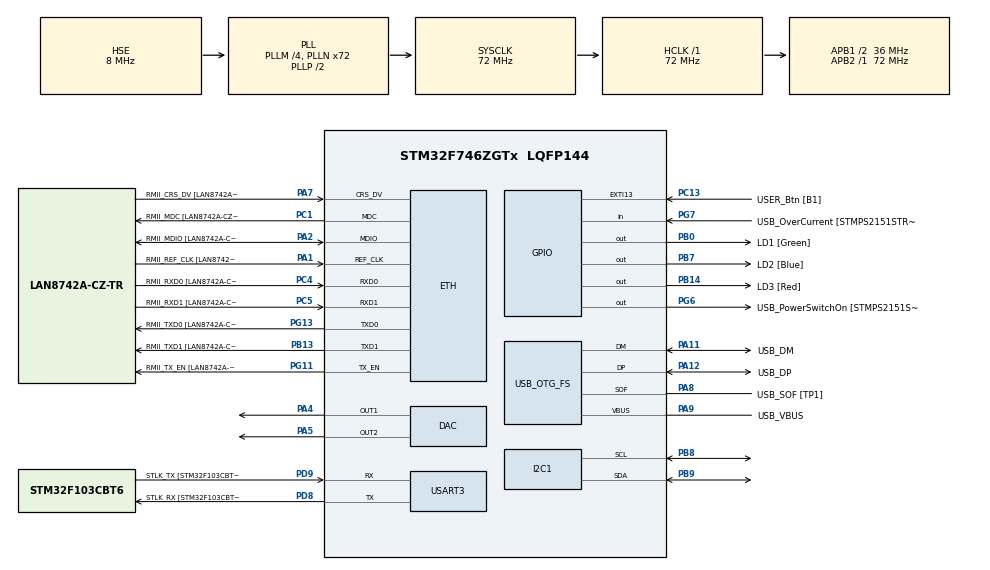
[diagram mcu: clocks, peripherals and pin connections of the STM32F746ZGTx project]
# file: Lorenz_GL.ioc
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DAC.DAC_Trigger=DAC_TRIGGER_T2_TRGO
DAC.DAC_Trigger2=DAC_TRIGGER_T2_TRGO
Dma.DAC1.0.Direction=DMA_MEMORY_TO_PERIPH
Dma.DAC1.0.FIFOMode=DMA_FIFOMODE_DISABLE
Dma.DAC1.0.Instance=DMA1_Stream5
Dma.DAC1.0.MemDataAlignment=DMA_MDATAALIGN_WORD
Dma.DAC1.0.MemInc=DMA_MINC_ENABLE
Dma.DAC1.0.Mode=DMA_CIRCULAR
Dma.DAC1.0.PeriphDataAlignment=DMA_PDATAALIGN_WORD
Dma.DAC1.0.PeriphInc=DMA_PINC_DISABLE
Dma.DAC1.0.Priority=DMA_PRIORITY_LOW
Dma.DAC2.1.Direction=DMA_MEMORY_TO_PERIPH
Dma.DAC2.1.FIFOMode=DMA_FIFOMODE_DISABLE
Dma.DAC2.1.Instance=DMA1_Stream6
Dma.DAC2.1.MemDataAlignment=DMA_MDATAALIGN_WORD
Dma.DAC2.1.MemInc=DMA_MINC_ENABLE
Dma.DAC2.1.Mode=DMA_CIRCULAR
Dma.DAC2.1.PeriphDataAlignment=DMA_PDATAALIGN_WORD
Dma.DAC2.1.PeriphInc=DMA_PINC_DISABLE
Dma.DAC2.1.Priority=DMA_PRIORITY_LOW
Dma.Request0=DAC1
Dma.Request1=DAC2
Dma.Request2=USART3_RX
Dma.Request3=USART3_TX
Dma.USART3_RX.2.Direction=DMA_PERIPH_TO_MEMORY
Dma.USART3_RX.2.FIFOMode=DMA_FIFOMODE_DISABLE
Dma.USART3_RX.2.Instance=DMA1_Stream1
Dma.USART3_RX.2.MemDataAlignment=DMA_MDATAALIGN_BYTE
Dma.USART3_RX.2.MemInc=DMA_MINC_ENABLE
Dma.USART3_RX.2.Mode=DMA_NORMAL
Dma.USART3_RX.2.PeriphDataAlignment=DMA_PDATAALIGN_BYTE
Dma.USART3_RX.2.PeriphInc=DMA_PINC_DISABLE
Dma.USART3_RX.2.Priority=DMA_PRIORITY_LOW
Dma.USART3_TX.3.Direction=DMA_MEMORY_TO_PERIPH
Dma.USART3_TX.3.FIFOMode=DMA_FIFOMODE_DISABLE
Dma.USART3_TX.3.Instance=DMA1_Stream3
Dma.USART3_TX.3.MemDataAlignment=DMA_MDATAALIGN_BYTE
Dma.USART3_TX.3.MemInc=DMA_MINC_ENABLE
Dma.USART3_TX.3.Mode=DMA_NORMAL
Dma.USART3_TX.3.PeriphDataAlignment=DMA_PDATAALIGN_BYTE
Dma.USART3_TX.3.PeriphInc=DMA_PINC_DISABLE
Dma.USART3_TX.3.Priority=DMA_PRIORITY_LOW
ETH.MediaInterface=HAL_ETH_RMII_MODE
ETH.PHY_Name=LAN8742A_PHY_ADDRESS
ETH.PHY_Value=0
ETH.PhyAddress=0
I2C1.Timing=0x00808CD2
Mcu.Family=STM32F7
Mcu.Name=STM32F746ZGTx
Mcu.Package=LQFP144
NVIC.DMA1_Stream1_IRQn=true\:0\:0\:false\:false\:true\:false\:true\:true
NVIC.DMA1_Stream3_IRQn=true\:0\:0\:false\:false\:true\:false\:true\:true
NVIC.DMA1_Stream5_IRQn=true\:0\:0\:false\:false\:true\:false\:true\:true
NVIC.DMA1_Stream6_IRQn=true\:0\:0\:false\:false\:true\:false\:true\:true
NVIC.PriorityGroup=NVIC_PRIORITYGROUP_4
NVIC.USART3_IRQn=true\:0\:0\:false\:false\:true\:true\:true\:true
PA1.GPIO_Label=RMII_REF_CLK [LAN8742A-CZ-TR_REFCLK0]
PA1.Mode=RMII
PA1.Signal=ETH_REF_CLK
PA10.GPIO_Label=USB_ID
PA10.Signal=USB_OTG_FS_ID
PA11.GPIO_Label=USB_DM
PA11.Mode=Device_Only
PA11.Signal=USB_OTG_FS_DM
PA12.GPIO_Label=USB_DP
PA12.Mode=Device_Only
PA12.Signal=USB_OTG_FS_DP
PA13.GPIO_Label=TMS
PA13.Mode=Serial_Wire
PA13.Signal=SYS_JTMS-SWDIO
PA14.GPIO_Label=TCK
PA14.Mode=Serial_Wire
PA14.Signal=SYS_JTCK-SWCLK
PA2.GPIO_Label=RMII_MDIO [LAN8742A-CZ-TR_MDIO]
PA2.Mode=RMII
PA2.Signal=ETH_MDIO
PA4.Signal=COMP_DAC1_group
PA5.Signal=COMP_DAC2_group
PA7.GPIO_Label=RMII_CRS_DV [LAN8742A-CZ-TR_CRS_DV]
PA7.Mode=RMII
PA7.Signal=ETH_CRS_DV
PA8.GPIO_Label=USB_SOF [TP1]
PA8.Mode=Activate_SOF_FS
PA8.Signal=USB_OTG_FS_SOF
PA9.GPIO_Label=USB_VBUS
PA9.Mode=Activate_VBUS
PA9.Signal=USB_OTG_FS_VBUS
PB0.GPIO_Label=LD1 [Green]
PB0.Signal=GPIO_Output
PB13.GPIO_Label=RMII_TXD1 [LAN8742A-CZ-TR_TXD1]
PB13.Mode=RMII
PB13.Signal=ETH_TXD1
PB14.GPIO_Label=LD3 [Red]
PB14.Signal=GPIO_Output
PB3.GPIO_Label=SW0
PB3.Signal=SYS_JTDO-SWO
PB7.GPIO_Label=LD2 [Blue]
PB7.Signal=GPIO_Output
PB8.Mode=I2C
PB8.Signal=I2C1_SCL
PB9.Mode=I2C
PB9.Signal=I2C1_SDA
PC1.GPIO_Label=RMII_MDC [LAN8742A-CZ-TR_MDC]
PC1.Mode=RMII
PC1.Signal=ETH_MDC
PC13.GPIO_Label=USER_Btn [B1]
PC13.Signal=GPXTI13
PC14/OSC32_IN.Mode=LSE-External-Oscillator
PC14/OSC32_IN.Signal=RCC_OSC32_IN
PC15/OSC32_OUT.Mode=LSE-External-Oscillator
PC15/OSC32_OUT.Signal=RCC_OSC32_OUT
PC4.GPIO_Label=RMII_RXD0 [LAN8742A-CZ-TR_RXD0]
PC4.Mode=RMII
PC4.Signal=ETH_RXD0
PC5.GPIO_Label=RMII_RXD1 [LAN8742A-CZ-TR_RXD1]
PC5.Mode=RMII
PC5.Signal=ETH_RXD1
PD8.GPIO_Label=STLK_RX [STM32F103CBT6_PA3]
PD8.GPIO_PuPd=GPIO_PULLUP
PD8.Mode=Asynchronous
PD8.Signal=USART3_TX
PD9.GPIO_Label=STLK_TX [STM32F103CBT6_PA2]
PD9.GPIO_PuPd=GPIO_PULLUP
PD9.Mode=Asynchronous
PD9.Signal=USART3_RX
PG11.GPIO_Label=RMII_TX_EN [LAN8742A-CZ-TR_TXEN]
PG11.Mode=RMII
PG11.Signal=ETH_TX_EN
PG13.GPIO_Label=RMII_TXD0 [LAN8742A-CZ-TR_TXD0]
PG13.Mode=RMII
PG13.Signal=ETH_TXD0
PG6.GPIO_Label=USB_PowerSwitchOn [STMPS2151STR_EN]
PG6.Signal=GPIO_Output
PG7.GPIO_Label=USB_OverCurrent [STMPS2151STR_FAULT]
PG7.Signal=GPIO_Input
PH0/OSC_IN.GPIO_Label=MCO [STM32F103CBT6_PA8]
PH0/OSC_IN.Mode=HSE-External-Clock-Source
PH0/OSC_IN.Signal=RCC_OSC_IN
PH1/OSC_OUT.Mode=HSE-External-Clock-Source
PH1/OSC_OUT.Signal=RCC_OSC_OUT
ProjectManager.HeapSize=0x200
ProjectManager.StackSize=0x400
ProjectManager.TargetToolchain=STM32CubeIDE
RCC.48MHZClocksFreq_Value=24000000
RCC.AHBFreq_Value=72000000
RCC.APB1CLKDivider=RCC_HCLK_DIV2
RCC.APB1Freq_Value=36000000
RCC.APB1TimFreq_Value=72000000
RCC.APB2Freq_Value=72000000
RCC.APB2TimFreq_Value=72000000
RCC.CortexFreq_Value=72000000
RCC.HCLKFreq_Value=72000000
RCC.HSE_VALUE=8000000
RCC.HSI_VALUE=16000000
RCC.PLLM=4
RCC.PLLMUL=RCC_PLL_MUL9
RCC.PLLN=72
RCC.PLLQ=3
RCC.PRESCALERUSB=RCC_USBCLKSOURCE_PLL_DIV1_5
RCC.SYSCLKFreq_VALUE=72000000
RCC.SYSCLKSource=RCC_SYSCLKSOURCE_PLLCLK
RCC.SYSCLKSourceVirtual=RCC_SYSCLKSOURCE_PLLCLK
RCC.USBFreq_Value=48000000
RCC.VCOOutputFreq_Value=144000000
SH.COMP_DAC1_group.0=DAC_OUT1,DAC_OUT1
SH.COMP_DAC2_group.0=DAC_OUT2,DAC_OUT2
TIM2.Period=100
TIM2.Prescaler=72-1
TIM2.TIM_MasterOutputTrigger=TIM_TRGO_UPDATE
USART3.VirtualMode-Asynchronous=VM_ASYNC
USB_OTG_FS.VirtualMode=Device_Only
VP_TIM2_VS_ClockSourceINT.Mode=Internal
board=NUCLEO-F746ZG

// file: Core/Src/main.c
/* USER CODE BEGIN Header */
/**
  ******************************************************************************
  * @file           : main.c
  * @brief          : Main program body
  ******************************************************************************
  * @attention
  *
  * Copyright (c) 2025 STMicroelectronics.
  * All rights reserved.
  *
  * This software is licensed under terms that can be found in the LICENSE file
  * in the root directory of this software component.
  * If no LICENSE file comes with this software, it is provided AS-IS.
  *
  ******************************************************************************
  */
/* USER CODE END Header */
#include "main.h"
#include "string.h"

/* USER CODE BEGIN Includes */
#include "math.h"
#include "stdio.h"
/* USER CODE END Includes */

/* USER CODE BEGIN PD */
#define ALPHA   0.995          // orden fraccionario (0<alpha<1)
#define DT      0.005          // paso de integración [s]
#define Lm      10.0           // ventana de memoria [s]

#define SIGMA   10.0
#define RHO     28.0
#define BETA    (8.0/3.0)

#define MAX_M   10          // máximo Lm/DT soportado
/* USER CODE END PD */

#if defined ( __ICCARM__ ) /*!< IAR Compiler */
#pragma location=0x2004c000
ETH_DMADescTypeDef  DMARxDscrTab[ETH_RX_DESC_CNT]; /* Ethernet Rx DMA Descriptors */
#pragma location=0x2004c0a0
ETH_DMADescTypeDef  DMATxDscrTab[ETH_TX_DESC_CNT]; /* Ethernet Tx DMA Descriptors */

#elif defined ( __CC_ARM )  /* MDK ARM Compiler */

__attribute__((at(0x2004c000))) ETH_DMADescTypeDef  DMARxDscrTab[ETH_RX_DESC_CNT]; /* Ethernet Rx DMA Descriptors */
__attribute__((at(0x2004c0a0))) ETH_DMADescTypeDef  DMATxDscrTab[ETH_TX_DESC_CNT]; /* Ethernet Tx DMA Descriptors */

#elif defined ( __GNUC__ ) /* GNU Compiler */

ETH_DMADescTypeDef DMARxDscrTab[ETH_RX_DESC_CNT] __attribute__((section(".RxDecripSection"))); /* Ethernet Rx DMA Descriptors */
ETH_DMADescTypeDef DMATxDscrTab[ETH_TX_DESC_CNT] __attribute__((section(".TxDecripSection")));   /* Ethernet Tx DMA Descriptors */
#endif

ETH_TxPacketConfig TxConfig;

DAC_HandleTypeDef hdac;
DMA_HandleTypeDef hdma_dac1;
DMA_HandleTypeDef hdma_dac2;

ETH_HandleTypeDef heth;

I2C_HandleTypeDef hi2c1;

TIM_HandleTypeDef htim2;

UART_HandleTypeDef huart3;
DMA_HandleTypeDef hdma_usart3_rx;
DMA_HandleTypeDef hdma_usart3_tx;

PCD_HandleTypeDef hpcd_USB_OTG_FS;

/* USER CODE BEGIN PV */
/* Estado GL */
static int    m = 0;                       // tamaño de memoria = floor(Lm/DT), cap a MAX_M
static double c_coef[MAX_M + 1];           // coeficientes binomiales GL
static double x_hist[MAX_M + 1];
static double y_hist[MAX_M + 1];
static double z_hist[MAX_M + 1];
static int    idx_current = 0;             // índice circular del más reciente
static int    step_count  = 0;             // pasos integrados
static double dt_alpha    = 0.0;           // DT^alpha precalculado

/* UART IT no bloqueante */
static volatile uint8_t uart_busy = 0;
static char tx_buffer[120];
/* USER CODE END PV */

void SystemClock_Config(void);
static void MX_GPIO_Init(void);
static void MX_DMA_Init(void);
static void MX_ETH_Init(void);
static void MX_I2C1_Init(void);
static void MX_USART3_UART_Init(void);
static void MX_USB_OTG_FS_PCD_Init(void);
static void MX_DAC_Init(void);
static void MX_TIM2_Init(void);
/* USER CODE BEGIN PFP */
static void gl_compute_binomial_coefs(double alpha, int m);
static void lorenz_gl_step(void);
static uint32_t float_to_dac12(double val, double minVal, double maxVal);
static void enviar_mensaje(const char *msg);
void HAL_UART_TxCpltCallback(UART_HandleTypeDef *huart);
/* USER CODE END PFP */

/* USER CODE BEGIN 0 */
static void gl_compute_binomial_coefs(double alpha, int m)
{
    c_coef[0] = 1.0;
    for (int j = 1; j <= m; j++) {
        /* c[j] = c[j-1]*(1 - (1+alpha)/j) = (-1)^j * C(alpha,j) */
        const double tmp = (1.0 + alpha) / (double)j;
        c_coef[j] = c_coef[j - 1] * (1.0 - tmp);
    }
}

static void lorenz_gl_step(void)
{
    /* i = paso que vamos a escribir; el más reciente está en idx_current */
    const int N = m + 1;
    const int i = step_count + 1;

    /* cuántos términos pasados sumar */
    const int pasos = (i < m) ? i : m;

    /* índice del estado anterior (i-1) en el buffer circular */
    const int idx_prev = idx_current;

    /* acumular memoria: sum_{j=1..pasos} c[j] * x[i-j] */
    long double sum_x = 0.0L, sum_y = 0.0L, sum_z = 0.0L;
    int run_idx = idx_prev;
    for (int j = 1; j <= pasos; j++) {
        sum_x += (long double)c_coef[j] * (long double)x_hist[run_idx];
        sum_y += (long double)c_coef[j] * (long double)y_hist[run_idx];
        sum_z += (long double)c_coef[j] * (long double)z_hist[run_idx];
        if (--run_idx < 0) run_idx += N;
    }

    /* derivada local en (i-1) */
    const long double x_prev = x_hist[idx_prev];
    const long double y_prev = y_hist[idx_prev];
    const long double z_prev = z_hist[idx_prev];

    const long double dx = SIGMA * (y_prev - x_prev);
    const long double dy = RHO * x_prev - y_prev - x_prev * z_prev;
    const long double dz = -BETA * z_prev + x_prev * y_prev;

    /* actualización GL: x[i] = dt^alpha * f(x_{i-1}) - \sum_{j>=1} c[j] x[i-j] */
    const long double x_new = dx * (long double)dt_alpha - sum_x;
    const long double y_new = dy * (long double)dt_alpha - sum_y;
    const long double z_new = dz * (long double)dt_alpha - sum_z;

    /* escribir en buffer circular */
    idx_current = (idx_current + 1) % N;
    x_hist[idx_current] = (double)x_new;
    y_hist[idx_current] = (double)y_new;
    z_hist[idx_current] = (double)z_new;

    step_count++;
}

static uint32_t float_to_dac12(double val, double minVal, double maxVal)
{
    double rango = maxVal - minVal;
    if (fabs(rango) < 1e-12) rango = 1e-12;
    double s = (val - minVal) * (4095.0 / rango);
    if (s < 0.0) s = 0.0;
    if (s > 4095.0) s = 4095.0;
    return (uint32_t)lround(s);
}

static void enviar_mensaje(const char *msg)
{
    if (uart_busy) return;
    size_t n = strnlen(msg, sizeof(tx_buffer) - 1);
    memcpy(tx_buffer, msg, n);
    tx_buffer[n] = '\0';
    uart_busy = 1;
    if (HAL_UART_Transmit_IT(&huart3, (uint8_t*)tx_buffer, (uint16_t)n) != HAL_OK) {
        uart_busy = 0;
    }
}

void HAL_UART_TxCpltCallback(UART_HandleTypeDef *huart)
{
    if (huart == &huart3) uart_busy = 0;
}

/* USER CODE END 0 */

int main(void)
{

  /* MCU Configuration--------------------------------------------------------*/

  /* Reset of all peripherals, Initializes the Flash interface and the Systick. */
  HAL_Init();

  /* Configure the system clock */
  SystemClock_Config();

  /* Initialize all configured peripherals */
  MX_GPIO_Init();
  MX_DMA_Init();
  MX_ETH_Init();
  MX_I2C1_Init();
  MX_USART3_UART_Init();
  MX_USB_OTG_FS_PCD_Init();
  MX_DAC_Init();
  MX_TIM2_Init();
  /* USER CODE BEGIN 2 */
  /* temporización de referencias para DAC por TIM2 */
  HAL_TIM_Base_Start(&htim2);

  /* memoria GL */
  m = (int)(Lm / DT);
  if (m > MAX_M) m = MAX_M;
  dt_alpha = pow(DT, ALPHA);          // precalcular

  gl_compute_binomial_coefs(ALPHA, m);

  for (int i = 0; i <= m; i++) {
      x_hist[i] = 0.0;
      y_hist[i] = 0.0;
      z_hist[i] = 0.0;
  }
  x_hist[0] = 0.1; y_hist[0] = 0.1; z_hist[0] = 0.1;
  idx_current = 0;
  step_count  = 0;

  /* DAC on */
  HAL_DAC_Start(&hdac, DAC_CHANNEL_1);
  HAL_DAC_Start(&hdac, DAC_CHANNEL_2);

  enviar_mensaje("\r\n*** Lorenz GL (alpha=0.995) STM32F7 ***\r\n");

  /* USER CODE END 2 */

  /* Infinite loop */
  /* USER CODE BEGIN WHILE */
  while (1)
  {
	  lorenz_gl_step();

	  const double x = x_hist[idx_current];
	  const double y = y_hist[idx_current];
	  const double z = z_hist[idx_current];

	  HAL_DAC_SetValue(&hdac, DAC_CHANNEL_1, DAC_ALIGN_12B_R, float_to_dac12(x, -20.0, 20.0));
	  HAL_DAC_SetValue(&hdac, DAC_CHANNEL_2, DAC_ALIGN_12B_R, float_to_dac12(y, -25.0, 25.0));

	  char buf[96];
	  /* decimales por UART para graficar en PC */
	  snprintf(buf, sizeof(buf), "GL,x=%.6f,y=%.6f,z=%.6f\r\n", x, y, z);
	  enviar_mensaje(buf);

	  HAL_Delay(10); /* ~100 Hz de telemetría. La integración se rige por DT. */
    /* USER CODE END WHILE */

  }
}

void SystemClock_Config(void)
{
  RCC_OscInitTypeDef RCC_OscInitStruct = {0};
  RCC_ClkInitTypeDef RCC_ClkInitStruct = {0};

  /** Configure LSE Drive Capability
  */
  HAL_PWR_EnableBkUpAccess();

  /** Configure the main internal regulator output voltage
  */
  __HAL_RCC_PWR_CLK_ENABLE();
  __HAL_PWR_VOLTAGESCALING_CONFIG(PWR_REGULATOR_VOLTAGE_SCALE3);

  /** Initializes the RCC Oscillators according to the specified parameters
  * in the RCC_OscInitTypeDef structure.
  */
  RCC_OscInitStruct.OscillatorType = RCC_OSCILLATORTYPE_HSE;
  RCC_OscInitStruct.HSEState = RCC_HSE_BYPASS;
  RCC_OscInitStruct.PLL.PLLState = RCC_PLL_ON;
  RCC_OscInitStruct.PLL.PLLSource = RCC_PLLSOURCE_HSE;
  RCC_OscInitStruct.PLL.PLLM = 4;
  RCC_OscInitStruct.PLL.PLLN = 72;
  RCC_OscInitStruct.PLL.PLLP = RCC_PLLP_DIV2;
  RCC_OscInitStruct.PLL.PLLQ = 3;
  if (HAL_RCC_OscConfig(&RCC_OscInitStruct) != HAL_OK)
  {
    Error_Handler();
  }

  /** Initializes the CPU, AHB and APB buses clocks
  */
  RCC_ClkInitStruct.ClockType = RCC_CLOCKTYPE_HCLK|RCC_CLOCKTYPE_SYSCLK
                              |RCC_CLOCKTYPE_PCLK1|RCC_CLOCKTYPE_PCLK2;
  RCC_ClkInitStruct.SYSCLKSource = RCC_SYSCLKSOURCE_PLLCLK;
  RCC_ClkInitStruct.AHBCLKDivider = RCC_SYSCLK_DIV1;
  RCC_ClkInitStruct.APB1CLKDivider = RCC_HCLK_DIV2;
  RCC_ClkInitStruct.APB2CLKDivider = RCC_HCLK_DIV1;

  if (HAL_RCC_ClockConfig(&RCC_ClkInitStruct, FLASH_LATENCY_2) != HAL_OK)
  {
    Error_Handler();
  }
}

static void MX_DAC_Init(void)
{

  DAC_ChannelConfTypeDef sConfig = {0};

  /** DAC Initialization
  */
  hdac.Instance = DAC;
  if (HAL_DAC_Init(&hdac) != HAL_OK)
  {
    Error_Handler();
  }

  /** DAC channel OUT1 config
  */
  sConfig.DAC_Trigger = DAC_TRIGGER_T2_TRGO;
  sConfig.DAC_OutputBuffer = DAC_OUTPUTBUFFER_ENABLE;
  if (HAL_DAC_ConfigChannel(&hdac, &sConfig, DAC_CHANNEL_1) != HAL_OK)
  {
    Error_Handler();
  }

  /** DAC channel OUT2 config
  */
  if (HAL_DAC_ConfigChannel(&hdac, &sConfig, DAC_CHANNEL_2) != HAL_OK)
  {
    Error_Handler();
  }

}

static void MX_ETH_Init(void)
{

   static uint8_t MACAddr[6];

  heth.Instance = ETH;
  MACAddr[0] = 0x00;
  MACAddr[1] = 0x80;
  MACAddr[2] = 0xE1;
  MACAddr[3] = 0x00;
  MACAddr[4] = 0x00;
  MACAddr[5] = 0x00;
  heth.Init.MACAddr = &MACAddr[0];
  heth.Init.MediaInterface = HAL_ETH_RMII_MODE;
  heth.Init.TxDesc = DMATxDscrTab;
  heth.Init.RxDesc = DMARxDscrTab;
  heth.Init.RxBuffLen = 1524;

  if (HAL_ETH_Init(&heth) != HAL_OK)
  {
    Error_Handler();
  }

  memset(&TxConfig, 0 , sizeof(ETH_TxPacketConfig));
  TxConfig.Attributes = ETH_TX_PACKETS_FEATURES_CSUM | ETH_TX_PACKETS_FEATURES_CRCPAD;
  TxConfig.ChecksumCtrl = ETH_CHECKSUM_IPHDR_PAYLOAD_INSERT_PHDR_CALC;
  TxConfig.CRCPadCtrl = ETH_CRC_PAD_INSERT;

}

static void MX_I2C1_Init(void)
{

  hi2c1.Instance = I2C1;
  hi2c1.Init.Timing = 0x00808CD2;
  hi2c1.Init.OwnAddress1 = 0;
  hi2c1.Init.AddressingMode = I2C_ADDRESSINGMODE_7BIT;
  hi2c1.Init.DualAddressMode = I2C_DUALADDRESS_DISABLE;
  hi2c1.Init.OwnAddress2 = 0;
  hi2c1.Init.OwnAddress2Masks = I2C_OA2_NOMASK;
  hi2c1.Init.GeneralCallMode = I2C_GENERALCALL_DISABLE;
  hi2c1.Init.NoStretchMode = I2C_NOSTRETCH_DISABLE;
  if (HAL_I2C_Init(&hi2c1) != HAL_OK)
  {
    Error_Handler();
  }

  /** Configure Analogue filter
  */
  if (HAL_I2CEx_ConfigAnalogFilter(&hi2c1, I2C_ANALOGFILTER_ENABLE) != HAL_OK)
  {
    Error_Handler();
  }

  /** Configure Digital filter
  */
  if (HAL_I2CEx_ConfigDigitalFilter(&hi2c1, 0) != HAL_OK)
  {
    Error_Handler();
  }

}

static void MX_TIM2_Init(void)
{

  TIM_ClockConfigTypeDef sClockSourceConfig = {0};
  TIM_MasterConfigTypeDef sMasterConfig = {0};

  htim2.Instance = TIM2;
  htim2.Init.Prescaler = 72-1;
  htim2.Init.CounterMode = TIM_COUNTERMODE_UP;
  htim2.Init.Period = 100;
  htim2.Init.ClockDivision = TIM_CLOCKDIVISION_DIV1;
  htim2.Init.AutoReloadPreload = TIM_AUTORELOAD_PRELOAD_DISABLE;
  if (HAL_TIM_Base_Init(&htim2) != HAL_OK)
  {
    Error_Handler();
  }
  sClockSourceConfig.ClockSource = TIM_CLOCKSOURCE_INTERNAL;
  if (HAL_TIM_ConfigClockSource(&htim2, &sClockSourceConfig) != HAL_OK)
  {
    Error_Handler();
  }
  sMasterConfig.MasterOutputTrigger = TIM_TRGO_UPDATE;
  sMasterConfig.MasterSlaveMode = TIM_MASTERSLAVEMODE_DISABLE;
  if (HAL_TIMEx_MasterConfigSynchronization(&htim2, &sMasterConfig) != HAL_OK)
  {
    Error_Handler();
  }

}

static void MX_USART3_UART_Init(void)
{

  huart3.Instance = USART3;
  huart3.Init.BaudRate = 115200;
  huart3.Init.WordLength = UART_WORDLENGTH_8B;
  huart3.Init.StopBits = UART_STOPBITS_1;
  huart3.Init.Parity = UART_PARITY_NONE;
  huart3.Init.Mode = UART_MODE_TX_RX;
  huart3.Init.HwFlowCtl = UART_HWCONTROL_NONE;
  huart3.Init.OverSampling = UART_OVERSAMPLING_16;
  huart3.Init.OneBitSampling = UART_ONE_BIT_SAMPLE_DISABLE;
  huart3.AdvancedInit.AdvFeatureInit = UART_ADVFEATURE_NO_INIT;
  if (HAL_UART_Init(&huart3) != HAL_OK)
  {
    Error_Handler();
  }

}

static void MX_USB_OTG_FS_PCD_Init(void)
{

  hpcd_USB_OTG_FS.Instance = USB_OTG_FS;
  hpcd_USB_OTG_FS.Init.dev_endpoints = 6;
  hpcd_USB_OTG_FS.Init.speed = PCD_SPEED_FULL;
  hpcd_USB_OTG_FS.Init.dma_enable = DISABLE;
  hpcd_USB_OTG_FS.Init.phy_itface = PCD_PHY_EMBEDDED;
  hpcd_USB_OTG_FS.Init.Sof_enable = ENABLE;
  hpcd_USB_OTG_FS.Init.low_power_enable = DISABLE;
  hpcd_USB_OTG_FS.Init.lpm_enable = DISABLE;
  hpcd_USB_OTG_FS.Init.vbus_sensing_enable = ENABLE;
  hpcd_USB_OTG_FS.Init.use_dedicated_ep1 = DISABLE;
  if (HAL_PCD_Init(&hpcd_USB_OTG_FS) != HAL_OK)
  {
    Error_Handler();
  }

}

static void MX_DMA_Init(void)
{

  /* DMA controller clock enable */
  __HAL_RCC_DMA1_CLK_ENABLE();

  /* DMA interrupt init */
  /* DMA1_Stream1_IRQn interrupt configuration */
  HAL_NVIC_SetPriority(DMA1_Stream1_IRQn, 0, 0);
  HAL_NVIC_EnableIRQ(DMA1_Stream1_IRQn);
  /* DMA1_Stream3_IRQn interrupt configuration */
  HAL_NVIC_SetPriority(DMA1_Stream3_IRQn, 0, 0);
  HAL_NVIC_EnableIRQ(DMA1_Stream3_IRQn);
  /* DMA1_Stream5_IRQn interrupt configuration */
  HAL_NVIC_SetPriority(DMA1_Stream5_IRQn, 0, 0);
  HAL_NVIC_EnableIRQ(DMA1_Stream5_IRQn);
  /* DMA1_Stream6_IRQn interrupt configuration */
  HAL_NVIC_SetPriority(DMA1_Stream6_IRQn, 0, 0);
  HAL_NVIC_EnableIRQ(DMA1_Stream6_IRQn);

}

static void MX_GPIO_Init(void)
{
  GPIO_InitTypeDef GPIO_InitStruct = {0};

  /* GPIO Ports Clock Enable */
  __HAL_RCC_GPIOC_CLK_ENABLE();
  __HAL_RCC_GPIOH_CLK_ENABLE();
  __HAL_RCC_GPIOA_CLK_ENABLE();
  __HAL_RCC_GPIOB_CLK_ENABLE();
  __HAL_RCC_GPIOD_CLK_ENABLE();
  __HAL_RCC_GPIOG_CLK_ENABLE();

  /*Configure GPIO pin Output Level */
  HAL_GPIO_WritePin(GPIOB, LD1_Pin|LD3_Pin|LD2_Pin, GPIO_PIN_RESET);

  /*Configure GPIO pin Output Level */
  HAL_GPIO_WritePin(USB_PowerSwitchOn_GPIO_Port, USB_PowerSwitchOn_Pin, GPIO_PIN_RESET);

  /*Configure GPIO pin : USER_Btn_Pin */
  GPIO_InitStruct.Pin = USER_Btn_Pin;
  GPIO_InitStruct.Mode = GPIO_MODE_IT_RISING;
  GPIO_InitStruct.Pull = GPIO_NOPULL;
  HAL_GPIO_Init(USER_Btn_GPIO_Port, &GPIO_InitStruct);

  /*Configure GPIO pins : LD1_Pin LD3_Pin LD2_Pin */
  GPIO_InitStruct.Pin = LD1_Pin|LD3_Pin|LD2_Pin;
  GPIO_InitStruct.Mode = GPIO_MODE_OUTPUT_PP;
  GPIO_InitStruct.Pull = GPIO_NOPULL;
  GPIO_InitStruct.Speed = GPIO_SPEED_FREQ_LOW;
  HAL_GPIO_Init(GPIOB, &GPIO_InitStruct);

  /*Configure GPIO pin : USB_PowerSwitchOn_Pin */
  GPIO_InitStruct.Pin = USB_PowerSwitchOn_Pin;
  GPIO_InitStruct.Mode = GPIO_MODE_OUTPUT_PP;
  GPIO_InitStruct.Pull = GPIO_NOPULL;
  GPIO_InitStruct.Speed = GPIO_SPEED_FREQ_LOW;
  HAL_GPIO_Init(USB_PowerSwitchOn_GPIO_Port, &GPIO_InitStruct);

  /*Configure GPIO pin : USB_OverCurrent_Pin */
  GPIO_InitStruct.Pin = USB_OverCurrent_Pin;
  GPIO_InitStruct.Mode = GPIO_MODE_INPUT;
  GPIO_InitStruct.Pull = GPIO_NOPULL;
  HAL_GPIO_Init(USB_OverCurrent_GPIO_Port, &GPIO_InitStruct);

}

void Error_Handler(void)
{
  __disable_irq();
  while (1)
  {
  }
}
